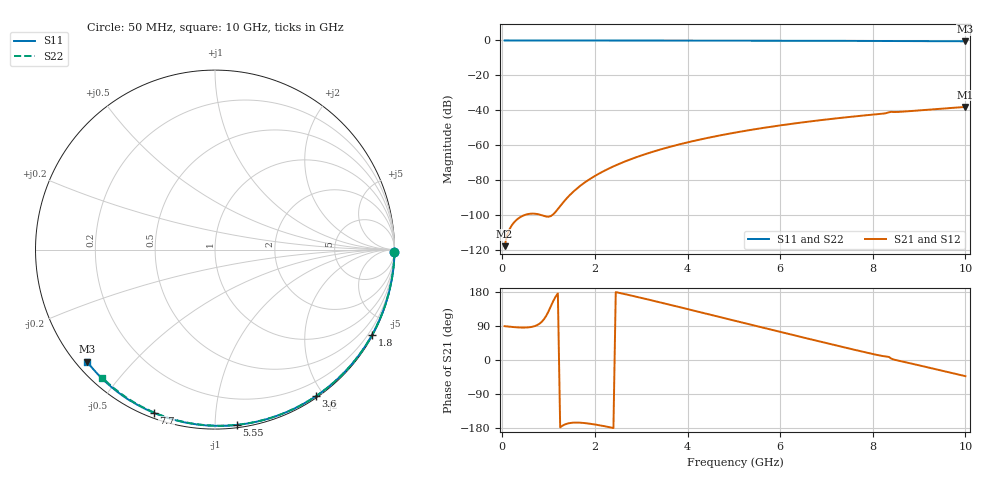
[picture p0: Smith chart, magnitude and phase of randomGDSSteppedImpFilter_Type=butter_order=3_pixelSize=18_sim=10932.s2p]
! freq	dB(S11)	phase(S11)	dB(S12)	phase(S12)
!  dB(S21)	phase(S21)	dB(S22)	phase(S22)
!S-par simulation data
#  GHz  S  DB  R 50
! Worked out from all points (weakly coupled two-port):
!   200 points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, 50 MHz to 10 GHz, reference 50 ohm
!   highest |S21| = -38.10 dB at 10 GHz (marker M1); lowest = -117.8 dB at 50 MHz (marker M2)
!   lowest |S11| = -0.5 dB at 10 GHz (marker M3), VSWR 37.02, Z = 1.54 - j18.8 ohm
!   |S11| at or under -10 dB: nowhere
!   |S22| runs from -0.4 to 0.0 dB; largest |S21 - S12| = 0
!   S11 on the Smith chart (normalised r, x): 50 MHz: open; 1.8 GHz: 0.03, -3.95; 3.6 GHz: 0.02, -1.90; 5.55 GHz: 0.02, -1.13; 7.7 GHz: 0.02, -0.69; 10 GHz: 0.03, -0.38
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0.05  -0.00 -0.8  -117.82 89.3  -117.82 89.3  -0.00 -0.8
0.9  -0.02 -14.4  -100.51 107.5  -100.51 107.5  -0.02 -13.6
1.75  -0.04 -27.7  -81.93 -166.1  -81.93 -166.1  -0.03 -26.2
1.8  -0.04 -28.4  -80.98 -166.7  -80.98 -166.7  -0.03 -26.9
1.85  -0.04 -29.2  -80.09 -167.4  -80.09 -167.4  -0.04 -27.7
2.15  -0.04 -33.8  -75.37 -173.4  -75.37 -173.4  -0.04 -32.1
2.55  -0.05 -39.9  -70.39 176.5  -70.39 176.5  -0.05 -37.8
2.95  -0.06 -46.0  -66.34 165.4  -66.34 165.4  -0.06 -43.6
3.4  -0.07 -52.6  -62.55 152.3  -62.55 152.3  -0.07 -49.9
3.6  -0.07 -55.6  -61.07 146.3  -61.07 146.3  -0.07 -52.7
4.3  -0.09 -65.6  -56.57 125.4  -56.57 125.4  -0.09 -62.3
5.05  -0.12 -76.1  -52.66 102.8  -52.66 102.8  -0.11 -72.2
5.55  -0.14 -82.9  -50.44 87.7  -50.44 87.7  -0.13 -78.7
6.1  -0.16 -90.2  -48.28 71.3  -48.28 71.3  -0.15 -85.6
6.7  -0.19 -98.0  -46.20 53.4  -46.20 53.4  -0.18 -93.1
7.7  -0.25 -110.6  -43.25 24.2  -43.25 24.2  -0.24 -105.1
8.25  -0.30 -117.4  -41.83 9.9  -41.83 9.9  -0.28 -111.5
8.35  -0.31 -118.6  -41.13 8.0  -41.13 8.0  -0.29 -112.7
8.4  -0.30 -119.2  -40.89 3.7  -40.89 3.7  -0.29 -113.2
8.6  -0.32 -121.7  -40.86 -3.0  -40.86 -3.0  -0.31 -115.5
9.15  -0.38 -128.4  -39.74 -18.3  -39.74 -18.3  -0.36 -121.8
10  -0.47 -138.7  -38.10 -42.6  -38.10 -42.6  -0.44 -131.4
